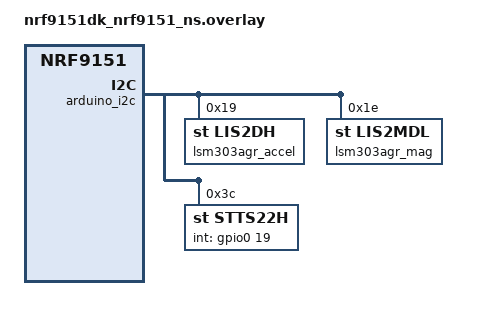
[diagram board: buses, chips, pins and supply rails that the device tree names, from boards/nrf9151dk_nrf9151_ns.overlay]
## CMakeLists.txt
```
cmake_minimum_required(VERSION 3.20.0)
find_package(Zephyr REQUIRED HINTS $ENV{ZEPHYR_BASE})

project(nrf91_lwm2m_client)

target_include_directories(app PRIVATE include)
target_sources(app PRIVATE
  src/main.c
  src/temperature.c
  src/ecompass.c
)
```

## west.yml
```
manifest:
  remotes:
    - name: ncs
      url-base: https://github.com/nrfconnect

  projects:
    - name: nrf
      repo-path: sdk-nrf
      remote: ncs
      revision: v3.2.4
      import: true

  self:
    path: nrf91-lwm2m-client
```

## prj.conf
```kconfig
# LwM2M
CONFIG_LWM2M=y
CONFIG_LWM2M_COAP_BLOCK_SIZE=256
CONFIG_LWM2M_ENGINE_MAX_MESSAGES=10
CONFIG_LWM2M_ENGINE_MAX_OBSERVER=5
CONFIG_LWM2M_IPSO_SUPPORT=y
CONFIG_LWM2M_IPSO_TEMP_SENSOR=y
CONFIG_LWM2M_IPSO_ACCELEROMETER=y

# Networking
CONFIG_NETWORKING=y
CONFIG_NET_IPV4=y
CONFIG_NET_UDP=y
CONFIG_NET_SOCKETS=y
CONFIG_NET_SOCKETS_OFFLOAD=y
CONFIG_DNS_RESOLVER=y

# nRF91 modem
CONFIG_NRF_MODEM_LIB=y
CONFIG_MODEM_INFO=y
CONFIG_LTE_LINK_CONTROL=y

# Sensors
CONFIG_I2C=y
CONFIG_SENSOR=y
CONFIG_LIS2DH=y
CONFIG_LIS2MDL=y
CONFIG_STTS22H=y

# System
CONFIG_REBOOT=y
CONFIG_LOG=y
CONFIG_MAIN_STACK_SIZE=2048
```

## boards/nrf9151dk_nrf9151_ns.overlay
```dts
#include <zephyr/dt-bindings/sensor/stts22h.h>

&arduino_i2c {
    status = "okay";

    lsm303agr_accel: lsm303agr_accel@19 {
        compatible = "st,lis2dh";
        reg = <0x19>;
    };

    lsm303agr_mag: lsm303agr_mag@1e {
        compatible = "st,lis2mdl";
        reg = <0x1e>;
    };

    stts22h: stts22h@3c {
      compatible = "st,stts22h";
      reg = <0x3c>;
      sampling-rate = <STTS22H_1Hz>;
      int-gpios = <&gpio0 19 GPIO_ACTIVE_HIGH>;
    };
};
```

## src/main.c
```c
#include <modem/lte_lc.h>
#include <zephyr/kernel.h>
#include <zephyr/logging/log.h>
#include <zephyr/net/lwm2m.h>
#include <zephyr/sys/reboot.h>
#include <modem/nrf_modem_lib.h>

#include "temperature.h"
#include "ecompass.h"

LOG_MODULE_REGISTER(nrf91_lwm2m_client);

#define SERVER_URL    "coap://your-lwm2m-server:5683"
#define ENDPOINT_NAME "your-endpoint-name"
#define SERVER_ID     1
#define LIFETIME_S    60

static K_SEM_DEFINE(lte_connected, 0, 1);

static const char manufacturer[] = "Nordic Semiconductor";
static const char model[]        = "nRF9151-DK";
static const char serial[]       = "SN-001";
static const char fw_ver[]       = "1.0.0";

static struct lwm2m_ctx client_ctx;

static void lte_handler(const struct lte_lc_evt *const evt)
{
  switch (evt->type) {
  case LTE_LC_EVT_NW_REG_STATUS:
    if (evt->nw_reg_status != LTE_LC_NW_REG_REGISTERED_HOME &&
        evt->nw_reg_status != LTE_LC_NW_REG_REGISTERED_ROAMING) {
      break;
    }
    LOG_INF("LTE registered: %s",
            evt->nw_reg_status == LTE_LC_NW_REG_REGISTERED_HOME ? "home network"
                                                                : "roaming");
    k_sem_give(&lte_connected);
    break;

  case LTE_LC_EVT_RRC_UPDATE:
    LOG_INF("RRC mode: %s",
            evt->rrc_mode == LTE_LC_RRC_MODE_CONNECTED ? "connected" : "idle");
    break;
  default:
    break;
  }
}

static int modem_configure(void)
{
  int err;

  LOG_INF("Initializing modem library");
  err = nrf_modem_lib_init();
  if (err) {
    LOG_ERR("Failed to initialize the modem library, error: %d", err);
    return err;
  }

  LOG_INF("Connecting to LTE network");
  err = lte_lc_connect_async(lte_handler);
  if (err) {
    LOG_ERR("lte_lc_connect_async failed: %d", err);
    return err;
  }

  k_sem_take(&lte_connected, K_FOREVER);
  LOG_INF("Connected to LTE network");

  return 0;
}

static void observe_cb(enum lwm2m_observe_event event,
                       struct lwm2m_obj_path *path, void *user_data)
{
  char buf[LWM2M_MAX_PATH_STR_SIZE];

  switch (event) {
  case LWM2M_OBSERVE_EVENT_OBSERVER_ADDED:
    LOG_INF("Observer added for %s", lwm2m_path_log_buf(buf, path));
    break;
  case LWM2M_OBSERVE_EVENT_OBSERVER_REMOVED:
    LOG_INF("Observer removed for %s", lwm2m_path_log_buf(buf, path));
    break;
  case LWM2M_OBSERVE_EVENT_NOTIFY_ACK:
    LOG_INF("Notify ACK for %s", lwm2m_path_log_buf(buf, path));
    break;
  case LWM2M_OBSERVE_EVENT_NOTIFY_TIMEOUT:
    LOG_WRN("Notify timeout for %s — triggering reg update",
            lwm2m_path_log_buf(buf, path));
    lwm2m_rd_client_update();
    break;
  }
}

static void rd_client_event(struct lwm2m_ctx *client,
                            enum lwm2m_rd_client_event event)
{
  switch (event) {
  case LWM2M_RD_CLIENT_EVENT_NONE:
    break;
  case LWM2M_RD_CLIENT_EVENT_BOOTSTRAP_REG_FAILURE:
    LOG_ERR("Bootstrap registration failure");
    break;
  case LWM2M_RD_CLIENT_EVENT_BOOTSTRAP_REG_COMPLETE:
    LOG_INF("Bootstrap registration complete");
    break;
  case LWM2M_RD_CLIENT_EVENT_BOOTSTRAP_TRANSFER_COMPLETE:
    LOG_INF("Bootstrap transfer complete");
    break;
  case LWM2M_RD_CLIENT_EVENT_REGISTRATION_FAILURE:
    LOG_ERR("Registration failure");
    break;
  case LWM2M_RD_CLIENT_EVENT_REGISTRATION_COMPLETE:
    LOG_INF("Registration complete");
    break;
  case LWM2M_RD_CLIENT_EVENT_REG_TIMEOUT:
    LOG_WRN("Registration timeout");
    break;
  case LWM2M_RD_CLIENT_EVENT_REG_UPDATE_COMPLETE:
    LOG_INF("Registration update complete");
    break;
  case LWM2M_RD_CLIENT_EVENT_DEREGISTER_FAILURE:
    LOG_ERR("Deregister failure");
    break;
  case LWM2M_RD_CLIENT_EVENT_DISCONNECT:
    LOG_WRN("Disconnected");
    break;
  case LWM2M_RD_CLIENT_EVENT_QUEUE_MODE_RX_OFF:
    LOG_DBG("Queue mode RX window closed");
    break;
  case LWM2M_RD_CLIENT_EVENT_ENGINE_SUSPENDED:
    LOG_DBG("Engine suspended");
    break;
  case LWM2M_RD_CLIENT_EVENT_SERVER_DISABLED:
    LOG_DBG("Server disabled");
    break;
  case LWM2M_RD_CLIENT_EVENT_REG_UPDATE:
    LOG_DBG("Registration update sent");
    break;
  case LWM2M_RD_CLIENT_EVENT_DEREGISTER:
    LOG_DBG("Deregister sent");
    break;

  /*
   * NETWORK_ERROR must call lwm2m_rd_client_stop()
   * Failing to do so leaves the engine in a broken state
   */
  case LWM2M_RD_CLIENT_EVENT_NETWORK_ERROR:
    LOG_ERR("Network error, stopping client");
    lwm2m_rd_client_stop(client, rd_client_event, true);
    break;
  }
}

static int device_reboot_cb(uint16_t obj_inst_id, uint8_t *args,
                            uint16_t args_len)
{
  LOG_INF("Reboot requested by server");
  sys_reboot(SYS_REBOOT_COLD);
  return 0;
}

/*
 * Security Object (ID 0)
 * Describes how to reach the server and what security mode to use
 */
static void setup_security_object(void)
{
  /* Resource 0: Server URI */
  lwm2m_set_string(&LWM2M_OBJ(0, 0, 0), SERVER_URL);

  /* Resource 1: Bootstrap flag false = direct registration */
  lwm2m_set_bool(&LWM2M_OBJ(0, 0, 1), false);

  /* Resource 2: Security mode 3 = NoSec */
  lwm2m_set_u8(&LWM2M_OBJ(0, 0, 2), 3);

  /* Resource 10: Short Server ID */
  lwm2m_set_u16(&LWM2M_OBJ(0, 0, 10), SERVER_ID);
}

/*
 * Server Object (ID 1)
 * Describes the management server parameters
 */
static void setup_server_object(void)
{
  /* Resource 0: Short Server ID */
  lwm2m_set_u16(&LWM2M_OBJ(1, 0, 0), SERVER_ID);

  /* Resource 1: Lifetime */
  lwm2m_set_u32(&LWM2M_OBJ(1, 0, 1), LIFETIME_S);

  /* Resource 6: Notification storing while disabled/offline */
  lwm2m_set_bool(&LWM2M_OBJ(1, 0, 6), false);

  /* Resource 7: Binding: "U" = UDP */
  lwm2m_set_string(&LWM2M_OBJ(1, 0, 7), "U");
}

/*
 * Device Object (ID 3)
 * Object describing the device itself
 */
static void setup_device_object(void)
{
  lwm2m_set_res_buf(&LWM2M_OBJ(3, 0, 0), (void *)manufacturer,
                    sizeof(manufacturer), sizeof(manufacturer),
                    LWM2M_RES_DATA_FLAG_RO);
  lwm2m_set_res_buf(&LWM2M_OBJ(3, 0, 1), (void *)model, sizeof(model),
                    sizeof(model), LWM2M_RES_DATA_FLAG_RO);
  lwm2m_set_res_buf(&LWM2M_OBJ(3, 0, 2), (void *)serial, sizeof(serial),
                    sizeof(serial), LWM2M_RES_DATA_FLAG_RO);
  lwm2m_set_res_buf(&LWM2M_OBJ(3, 0, 3), (void *)fw_ver, sizeof(fw_ver),
                    sizeof(fw_ver), LWM2M_RES_DATA_FLAG_RO);

  /* Register reboot cb */
  lwm2m_register_exec_callback(&LWM2M_OBJ(3, 0, 4), device_reboot_cb);
}

static int lwm2m_setup(void)
{
  int ret;

  setup_security_object();
  setup_server_object();
  setup_device_object();

  ret = setup_temperature_sensor();
  if (ret < 0) {
    LOG_ERR("Temperature object setup failed: %d", ret);
    return ret;
  }

  ret = setup_ecompass();
  if (ret < 0) {
    LOG_ERR("eCompass object setup failed: %d", ret);
    return ret;
  }

  return 0;
}

int main(void)
{
  int ret;

  ret = modem_configure();
  if (ret) {
    LOG_ERR("modem_configure failed: %d", ret);
    return ret;
  }

  LOG_INF("Starting LwM2M client");
  ret = lwm2m_setup();
  if (ret < 0) {
    LOG_ERR("LwM2M setup failed: %d", ret);
    return ret;
  }

  memset(&client_ctx, 0, sizeof(client_ctx));
  lwm2m_rd_client_start(&client_ctx, ENDPOINT_NAME, 0, rd_client_event,
                        observe_cb);

  while (1) {
    k_sleep(K_FOREVER);
  }

  return 0;
}
```

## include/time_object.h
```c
#ifndef TIME_OBJECT_H
#define TIME_OBJECT_H

int setup_time_object(void);

#endif /* !TIME_OBJECT_H */
```

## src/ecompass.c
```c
#include <zephyr/kernel.h>
#include <zephyr/logging/log.h>
#include <zephyr/net/lwm2m.h>
#include <zephyr/drivers/sensor.h>

LOG_MODULE_REGISTER(ecompass);

static const struct device *accel =
  DEVICE_DT_GET(DT_NODELABEL(lsm303agr_accel));
static const struct device *mag =
  DEVICE_DT_GET(DT_NODELABEL(lsm303agr_mag));

static struct k_work_delayable ecompass_work;

#define ECOMPASS_UPDATE_INTERVAL_S 10

/* x is internally allocated in the lwm2m engine */
static double accel_y = 0.0;
static double accel_z = 0.0;
static double mag_y   = 0.0;
static double mag_z   = 0.0;

static void ecompass_work_handler(struct k_work *work)
{
  struct sensor_value accel_xyz[3];
  struct sensor_value mag_xyz[3];
  int                 ret;

  ret = sensor_sample_fetch(accel);
  if (ret < 0) {
    LOG_ERR("Failed to fetch accel sample: %d", ret);
    goto reschedule;
  }
  ret = sensor_sample_fetch(mag);
  if (ret < 0) {
    LOG_ERR("Failed to fetch mag sample: %d", ret);
    goto reschedule;
  }

  ret = sensor_channel_get(accel, SENSOR_CHAN_ACCEL_XYZ, accel_xyz);
  if (ret < 0) {
    LOG_ERR("Failed to get accel data: %d", ret);
    goto reschedule;
  }
  ret = sensor_channel_get(mag, SENSOR_CHAN_MAGN_XYZ, mag_xyz);
  if (ret < 0) {
    LOG_ERR("Failed to get mag data: %d", ret);
    goto reschedule;
  }

  ret = lwm2m_set_f64(&LWM2M_OBJ(3313, 0, 5702),
                      sensor_value_to_double(&accel_xyz[0]));
  if (ret < 0) {
    LOG_ERR("Failed to set accel X: %d", ret);
  }
  ret = lwm2m_set_f64(&LWM2M_OBJ(3313, 0, 5703),
                      sensor_value_to_double(&accel_xyz[1]));
  if (ret < 0) {
    LOG_ERR("Failed to set accel Y: %d", ret);
  }
  ret = lwm2m_set_f64(&LWM2M_OBJ(3313, 0, 5704),
                      sensor_value_to_double(&accel_xyz[2]));
  if (ret < 0) {
    LOG_ERR("Failed to set accel Z: %d", ret);
  }

  ret = lwm2m_set_f64(&LWM2M_OBJ(3314, 0, 5702),
                      sensor_value_to_double(&mag_xyz[0]));
  if (ret < 0) {
    LOG_ERR("Failed to set mag X: %d", ret);
  }
  ret = lwm2m_set_f64(&LWM2M_OBJ(3314, 0, 5703),
                      sensor_value_to_double(&mag_xyz[1]));
  if (ret < 0) {
    LOG_ERR("Failed to set mag Y: %d", ret);
  }
  ret = lwm2m_set_f64(&LWM2M_OBJ(3314, 0, 5704),
                      sensor_value_to_double(&mag_xyz[2]));
  if (ret < 0) {
    LOG_ERR("Failed to set mag Z: %d", ret);
  }

reschedule:
  k_work_schedule(&ecompass_work, K_SECONDS(ECOMPASS_UPDATE_INTERVAL_S));
}

static int setup_accelerometer(void)
{
  int ret;

  ret = lwm2m_create_object_inst(&LWM2M_OBJ(3313, 0));
  if (ret < 0) {
    LOG_ERR("Failed to create Accelerometer instance: %d", ret);
    return ret;
  }

  ret = lwm2m_set_res_buf(&LWM2M_OBJ(3313, 0, 5703), &accel_y, sizeof(accel_y),
                          sizeof(accel_y), 0);
  if (ret < 0) {
    LOG_ERR("accel Y buf: %d", ret);
    return ret;
  }

  ret = lwm2m_set_res_buf(&LWM2M_OBJ(3313, 0, 5704), &accel_z, sizeof(accel_z),
                          sizeof(accel_z), 0);
  if (ret < 0) {
    LOG_ERR("accel Z buf: %d", ret);
    return ret;
  }

  return 0;
}

static int setup_magnetometer(void)
{
  int ret;

  ret = lwm2m_create_object_inst(&LWM2M_OBJ(3314, 0));
  if (ret < 0) {
    LOG_ERR("Failed to create Magnetometer instance: %d", ret);
    return ret;
  }

  ret = lwm2m_set_res_buf(&LWM2M_OBJ(3314, 0, 5703), &mag_y, sizeof(mag_y),
                          sizeof(accel_y), 0);
  if (ret < 0) {
    LOG_ERR("mag Y buf: %d", ret);
    return ret;
  }

  ret = lwm2m_set_res_buf(&LWM2M_OBJ(3313, 0, 5704), &mag_z, sizeof(mag_z),
                          sizeof(mag_z), 0);
  if (ret < 0) {
    LOG_ERR("mag Z buf: %d", ret);
    return ret;
  }

  return 0;
}

int setup_ecompass(void)
{
  int ret;

  if (!device_is_ready(accel)) {
    LOG_ERR("Accelerometer not ready");
    return -ENODEV;
  }
  if (!device_is_ready(mag)) {
    LOG_ERR("Magnetometer not ready");
    return -ENODEV;
  }

  ret = setup_accelerometer();
  if (ret < 0) {
    LOG_ERR("Failed to setup accelerometer: %d", ret);
    return ret;
  }
  ret = setup_magnetometer();
  if (ret < 0) {
    LOG_ERR("Failed to setup magnetometer: %d", ret);
    return ret;
  }

  k_work_init_delayable(&ecompass_work, ecompass_work_handler);
  k_work_schedule(&ecompass_work, K_NO_WAIT);

  return 0;
}
```

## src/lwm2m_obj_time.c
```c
/*
 * LwM2M IPSO Time Object (ID: 3333)
 *
 * Resources:
 *   5506 - Current Time  (R/W, Mandatory, time_t)
 *   5507 - Fractional Time (R, Optional, double)
 *   5750 - Application Type (R/W, Optional, string)
 */

#define LOG_MODULE_NAME lwm2m_obj_time
#define LOG_LEVEL       CONFIG_LWM2M_LOG_LEVEL

#include <zephyr/logging/log.h>
LOG_MODULE_REGISTER(LOG_MODULE_NAME);

#include <zephyr/kernel.h>
#include <zephyr/init.h>
#include <time.h>

/* Internal Zephyr LwM2M headers (not part of public API) */
#include "lwm2m_object.h"
#include "lwm2m_engine.h"

/* Object / resource IDs */
#define IPSO_TIME_OBJ_ID 3333

#define CURRENT_TIME_RID     5506
#define FRACTIONAL_TIME_RID  5507
#define APPLICATION_TYPE_RID 5750

#define TIME_MAX_ID        3 /* number of resources */
#define MAX_INSTANCE_COUNT 1
#define APP_TYPE_LEN       32

/* Resource instance count: 1 per resource (none are multi-instance) */
#define RESOURCE_INSTANCE_COUNT TIME_MAX_ID

/* ---- Per-instance data storage ---- */
static time_t current_time[MAX_INSTANCE_COUNT];
static double frac_time[MAX_INSTANCE_COUNT];
static char   app_type[MAX_INSTANCE_COUNT][APP_TYPE_LEN];

/* ---- Engine structures ---- */
static struct lwm2m_engine_obj time_obj;

static struct lwm2m_engine_obj_field fields[] = {
  OBJ_FIELD_DATA(CURRENT_TIME_RID, RW, TIME),
  OBJ_FIELD_DATA(FRACTIONAL_TIME_RID, R_OPT, FLOAT),
  OBJ_FIELD_DATA(APPLICATION_TYPE_RID, RW_OPT, STRING),
};

static struct lwm2m_engine_obj_inst inst[MAX_INSTANCE_COUNT];
static struct lwm2m_engine_res      res[MAX_INSTANCE_COUNT][TIME_MAX_ID];
static struct lwm2m_engine_res_inst res_inst[MAX_INSTANCE_COUNT]
                                            [RESOURCE_INSTANCE_COUNT];

/* ---- create_cb: called by lwm2m_create_object_inst() ---- */
static struct lwm2m_engine_obj_inst *time_create(uint16_t obj_inst_id)
{
  int avail = -1;
  int i = 0, j = 0;

  /* Find a free slot */
  for (int k = 0; k < MAX_INSTANCE_COUNT; k++) {
    if (!inst[k].obj) {
      avail = k;
      break;
    }
  }

  if (avail < 0) {
    LOG_ERR("No free Time object instance");
    return NULL;
  }

  /* Zero out the resource arrays for this slot */
  (void)memset(res[avail], 0, sizeof(res[avail]));
  (void)memset(res_inst[avail], 0, sizeof(res_inst[avail]));

  /* Bind resource 5506: Current Time (mandatory) */
  INIT_OBJ_RES_DATA(CURRENT_TIME_RID, res[avail], i, res_inst[avail], j,
                    &current_time[avail], sizeof(current_time[avail]));

  /* Bind resource 5507: Fractional Time (optional) */
  INIT_OBJ_RES_DATA(FRACTIONAL_TIME_RID, res[avail], i, res_inst[avail], j,
                    &frac_time[avail], sizeof(frac_time[avail]));

  /* Bind resource 5750: Application Type (optional) */
  INIT_OBJ_RES_DATA_LEN(APPLICATION_TYPE_RID, res[avail], i, res_inst[avail], j,
                        app_type[avail], APP_TYPE_LEN, 0);

  inst[avail].resources      = res[avail];
  inst[avail].resource_count = i;

  LOG_DBG("Create Time object instance: %d", obj_inst_id);
  return &inst[avail];
}

/* ---- init function: registers the object type ---- */
static int lwm2m_time_obj_init(void)
{
  time_obj.obj_id             = IPSO_TIME_OBJ_ID;
  time_obj.version_major      = 1;
  time_obj.version_minor      = 0;
  time_obj.is_core            = false;
  time_obj.fields             = fields;
  time_obj.field_count        = ARRAY_SIZE(fields);
  time_obj.max_instance_count = MAX_INSTANCE_COUNT;
  time_obj.create_cb          = time_create;

  lwm2m_register_obj(&time_obj);
  return 0;
}

/* Auto-register at boot using Zephyr's LwM2M init mechanism */
LWM2M_OBJ_INIT(lwm2m_time_obj_init);
```

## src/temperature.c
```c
#include <zephyr/kernel.h>
#include <zephyr/logging/log.h>
#include <zephyr/net/lwm2m.h>

LOG_MODULE_REGISTER(temp_sensor);

static double temperature = 20.0;
static double temp_min    = -21.0;
static double temp_max    = 42.0;

static struct k_work_delayable temp_work;

#define TEMP_UPDATE_INTERVAL_S 10

static void temp_work_handler(struct k_work *work)
{
  temperature += 0.5;
  if (temperature > 30.0) {
    temperature = 20.0;
  }

  int ret = lwm2m_set_f64(&LWM2M_OBJ(3303, 0, 5700), temperature);
  if (ret < 0) {
    LOG_ERR("Failed to update temperature: %d", ret);
  } else {
    LOG_DBG("Temperature updated: %.1f C", temperature);
  }

  k_work_schedule(&temp_work, K_SECONDS(TEMP_UPDATE_INTERVAL_S));
}

int setup_temperature_sensor(void)
{
  int ret;

  ret = lwm2m_create_object_inst(&LWM2M_OBJ(3303, 0));
  if (ret < 0 && ret != -EEXIST) {
    LOG_ERR("Failed to create Temperature object instance: %d", ret);
    return ret;
  }

  ret = lwm2m_set_f64(&LWM2M_OBJ(3303, 0, 5603), temp_min);
  if (ret < 0) {
    LOG_ERR("Failed to set temp min range: %d", ret);
    return ret;
  }

  ret = lwm2m_set_f64(&LWM2M_OBJ(3303, 0, 5604), temp_max);
  if (ret < 0) {
    LOG_ERR("Failed to set temp max range: %d", ret);
    return ret;
  }

  ret = lwm2m_set_string(&LWM2M_OBJ(3303, 0, 5701), "Celsius");
  if (ret < 0) {
    LOG_ERR("Failed to set sensor units: %d", ret);
    return ret;
  }

  k_work_init_delayable(&temp_work, temp_work_handler);
  k_work_schedule(&temp_work, K_NO_WAIT);

  return 0;
}
```

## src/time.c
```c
#include <stdbool.h>
#include <stdint.h>
#include <zephyr/kernel.h>
#include <zephyr/logging/log.h>
#include <zephyr/net/lwm2m.h>
#include <date_time.h>

LOG_MODULE_REGISTER(time_object);

static int64_t current_time = 0;

static void *time_read_cb(uint16_t obj_inst_id, uint16_t res_id,
                          uint16_t res_inst_id, size_t *data_len)
{
  int64_t ms;
  int     ret;

  ret = date_time_now(&ms);
  if (ret != 0) {
    LOG_ERR("Failed to get current date time: %d", ret);
    return NULL;
  }

  current_time = ms / 1000;

  *data_len = sizeof(current_time);

  return &current_time;
}

int setup_time_object(void)
{
  int ret;

  ret = lwm2m_create_object_inst(&LWM2M_OBJ(3333, 0));
  if (ret < 0 && ret != -EEXIST) {
    LOG_ERR("Failed to create Time object instance: %d", ret);
    return ret;
  }

  current_time = 0;
  ret          = lwm2m_set_res_buf(&LWM2M_OBJ(3333, 0, 5506), &current_time,
                                   sizeof(current_time), sizeof(current_time), 0);
  if (ret < 0) {
    LOG_ERR("Failed to set time buffer: %d", ret);
    return ret;
  }

  ret = lwm2m_register_read_callback(&LWM2M_OBJ(3333, 0, 5506), time_read_cb);
  if (ret < 0) {
    LOG_ERR("Failed to register time read callback: %d", ret);
    return ret;
  }

  return 0;
}
```
